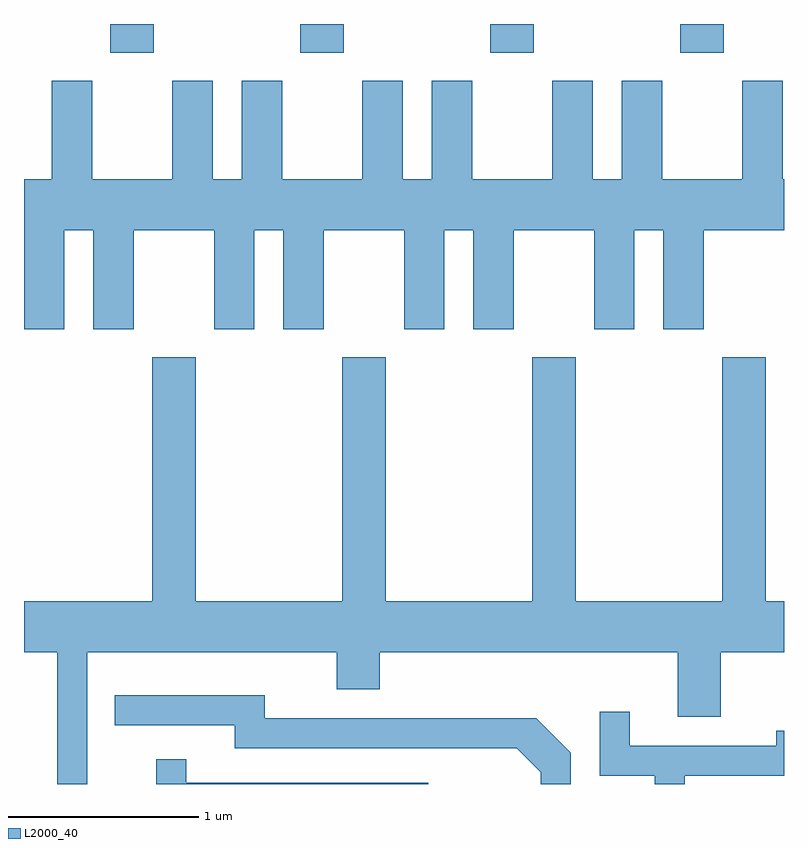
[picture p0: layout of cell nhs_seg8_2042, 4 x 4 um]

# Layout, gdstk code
import gdstk
lib = gdstk.Library(unit=1e-6, precision=1e-09)
def R(c, l, rs):  # rectangles x0, y0, x1, y1
    for r in rs: c.add(gdstk.rectangle(r[:2], r[2:], *l))
def A(c, l, x, y, w, h, nx, ny, dx, dy):  # array of equal rectangles
    R(c, l, [(x+i*dx, y+j*dy, x+i*dx+w, y+j*dy+h) for i in range(nx) for j in range(ny)])
def P(c, l, *ps):  # polygons
    for p in ps: c.add(gdstk.Polygon(p, *l))
L2000_40 = (2000, 40)

nhs_seg8_2042 = lib.new_cell('nhs_seg8_2042')
A(nhs_seg8_2042, L2000_40, 246.066, 1886.191, 0.228, 0.151, 4, 1, 1, 0)
P(nhs_seg8_2042, L2000_40, [(245.824,1885.256),(245.976,1885.256),(245.976,1884.736),(246.189,1884.736),(246.189,1885.256),(246.611,1885.256),(246.611,1884.736),(246.824,1884.736),(246.824,1885.256),(246.976,1885.256),(246.976,1884.736),(247.189,1884.736),(247.189,1885.256),(247.611,1885.256),(247.611,1884.736),(247.824,1884.736),(247.824,1885.256),(247.976,1885.256),(247.976,1884.736),(248.189,1884.736),(248.189,1885.256),(248.611,1885.256),(248.611,1884.736),(248.824,1884.736),(248.824,1885.256),(248.976,1885.256),(248.976,1884.736),(249.189,1884.736),(249.189,1885.256),(249.611,1885.256),(249.611,1885.524),(249.604,1885.524),(249.604,1886.044),(249.391,1886.044),(249.391,1885.524),(248.969,1885.524),(248.969,1886.044),(248.756,1886.044),(248.756,1885.524),(248.604,1885.524),(248.604,1886.044),(248.391,1886.044),(248.391,1885.524),(247.969,1885.524),(247.969,1886.044),(247.756,1886.044),(247.756,1885.524),(247.604,1885.524),(247.604,1886.044),(247.391,1886.044),(247.391,1885.524),(246.969,1885.524),(246.969,1886.044),(246.756,1886.044),(246.756,1885.524),(246.604,1885.524),(246.604,1886.044),(246.391,1886.044),(246.391,1885.524),(245.969,1885.524),(245.969,1886.044),(245.756,1886.044),(245.756,1885.524),(245.611,1885.524),(245.611,1884.736),(245.824,1884.736)],
  [(245.944,1883.036),(247.256,1883.036),(247.256,1882.841),(247.484,1882.841),(247.484,1883.036),(249.051,1883.036),(249.051,1882.696),(249.279,1882.696),(249.279,1883.036),(249.611,1883.036),(249.611,1883.304),(249.514,1883.304),(249.514,1884.589),(249.286,1884.589),(249.286,1883.304),(248.514,1883.304),(248.514,1884.589),(248.286,1884.589),(248.286,1883.304),(247.514,1883.304),(247.514,1884.589),(247.286,1884.589),(247.286,1883.304),(246.514,1883.304),(246.514,1884.589),(246.286,1884.589),(246.286,1883.304),(245.611,1883.304),(245.611,1883.036),(245.786,1883.036),(245.786,1882.342),(245.944,1882.342)],
  [(248.489,1882.507),(248.307,1882.689),(246.879,1882.689),(246.879,1882.809),(246.088,1882.809),(246.088,1882.651),(246.721,1882.651),(246.721,1882.531),(248.204,1882.531),(248.331,1882.404),(248.331,1882.342),(248.489,1882.342)],
  [(249.089,1882.386),(249.611,1882.386),(249.611,1882.623),(249.571,1882.623),(249.571,1882.544),(248.799,1882.544),(248.799,1882.723),(248.641,1882.723),(248.641,1882.386),(248.931,1882.386),(248.931,1882.342),(249.089,1882.342)],
  [(247.738,1882.349),(246.464,1882.349),(246.464,1882.473),(246.306,1882.473),(246.306,1882.342),(247.738,1882.342)])

lib.write_gds('nhs_seg8_2042.gds')
